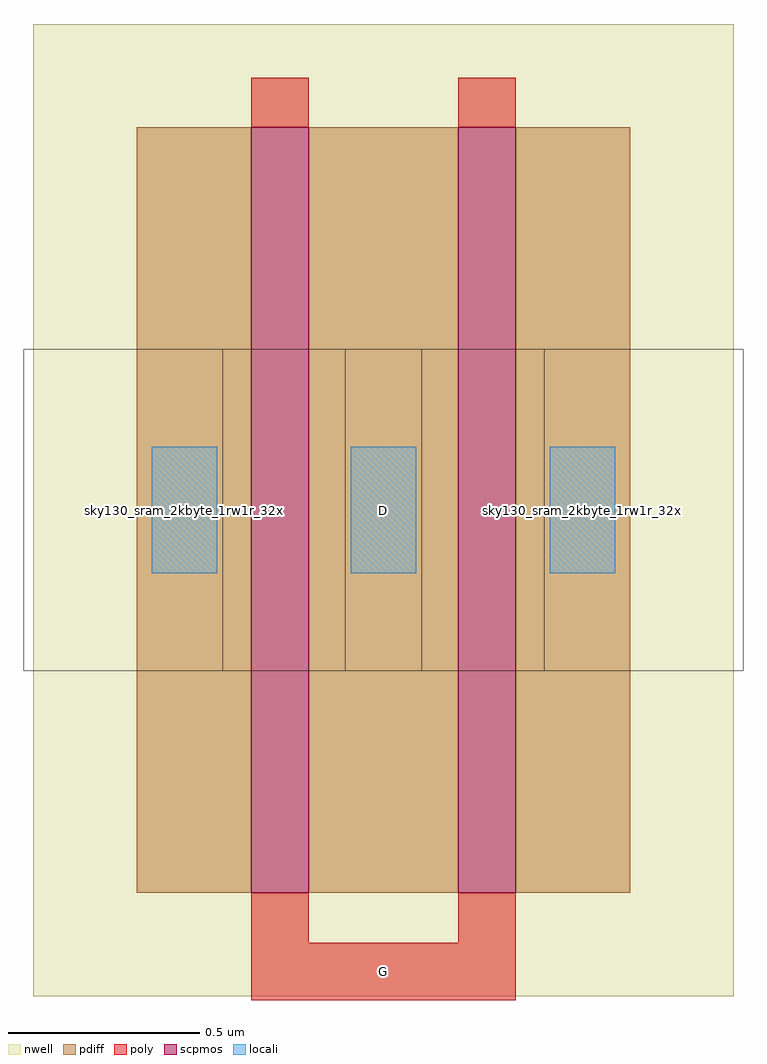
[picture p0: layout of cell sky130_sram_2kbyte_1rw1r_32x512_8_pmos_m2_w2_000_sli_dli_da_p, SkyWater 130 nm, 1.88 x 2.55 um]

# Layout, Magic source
magic
tech sky130A
magscale 1 2
<< nwell >>
rect -54 -54 312 454
<< scpmos >>
rect 60 0 90 400
rect 168 0 198 400
<< pdiff >>
rect 0 0 60 400
rect 90 0 168 400
rect 198 0 258 400
<< poly >>
rect 60 400 90 426
rect 168 400 198 426
rect 60 -26 90 0
rect 168 -26 198 0
rect 60 -56 198 -26
<< locali >>
rect 8 167 42 233
rect 112 167 146 233
rect 216 167 250 233
use sky130_sram_2kbyte_1rw1r_32x512_8_contact_12  sky130_sram_2kbyte_1rw1r_32x512_8_contact_12_2
transform 1 0 0 0 1 167
box -59 -51 109 117
use sky130_sram_2kbyte_1rw1r_32x512_8_contact_12  sky130_sram_2kbyte_1rw1r_32x512_8_contact_12_1
transform 1 0 104 0 1 167
box -59 -51 109 117
use sky130_sram_2kbyte_1rw1r_32x512_8_contact_12  sky130_sram_2kbyte_1rw1r_32x512_8_contact_12_0
transform 1 0 208 0 1 167
box -59 -51 109 117
<< labels >>
rlabel locali s 25 200 25 200 4 S
rlabel locali s 233 200 233 200 4 S
rlabel locali s 129 200 129 200 4 D
rlabel poly s 129 -41 129 -41 4 G
<< properties >>
string FIXED_BBOX -54 -56 312 454
<< end >>
